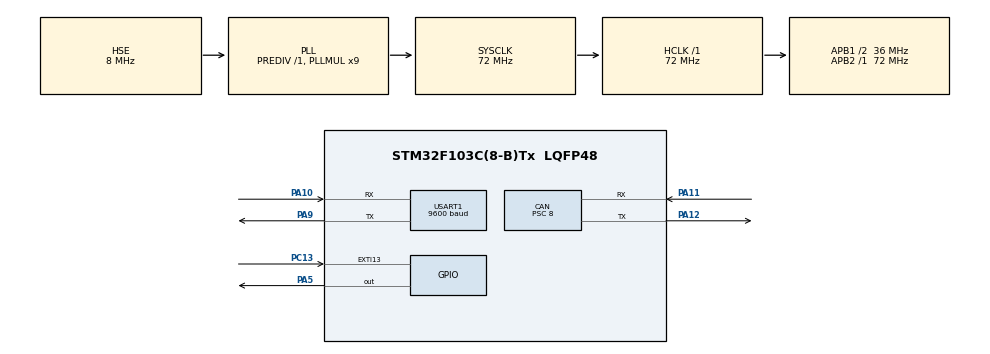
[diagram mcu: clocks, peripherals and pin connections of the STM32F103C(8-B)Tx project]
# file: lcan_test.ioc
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CAN.BS1=CAN_BS1_2TQ
CAN.BS2=CAN_BS2_3TQ
CAN.CalculateBaudRate=750000
CAN.CalculateTimeBit=1333.33
CAN.CalculateTimeQuantum=222.22222222222223
CAN.Prescaler=8
Dma.Request0=USART1_RX
Dma.USART1_RX.0.Direction=DMA_PERIPH_TO_MEMORY
Dma.USART1_RX.0.Instance=DMA1_Channel5
Dma.USART1_RX.0.MemDataAlignment=DMA_MDATAALIGN_BYTE
Dma.USART1_RX.0.MemInc=DMA_MINC_ENABLE
Dma.USART1_RX.0.Mode=DMA_NORMAL
Dma.USART1_RX.0.PeriphDataAlignment=DMA_PDATAALIGN_BYTE
Dma.USART1_RX.0.PeriphInc=DMA_PINC_DISABLE
Dma.USART1_RX.0.Priority=DMA_PRIORITY_LOW
Mcu.Family=STM32F1
Mcu.Name=STM32F103C(8-B)Tx
Mcu.Package=LQFP48
NVIC.DMA1_Channel5_IRQn=true\:0\:0\:false\:false\:true\:false\:true
NVIC.PriorityGroup=NVIC_PRIORITYGROUP_4
NVIC.USART1_IRQn=true\:0\:0\:false\:false\:true\:true\:true
NVIC.USB_HP_CAN1_TX_IRQn=true\:0\:0\:false\:false\:true\:true\:true
NVIC.USB_LP_CAN1_RX0_IRQn=true\:0\:0\:false\:false\:true\:true\:true
PA10.Mode=Asynchronous
PA10.Signal=USART1_RX
PA11.Mode=CAN_Activate
PA11.Signal=CAN_RX
PA12.Mode=CAN_Activate
PA12.Signal=CAN_TX
PA13.Mode=Serial_Wire
PA13.Signal=SYS_JTMS-SWDIO
PA14.Mode=Serial_Wire
PA14.Signal=SYS_JTCK-SWCLK
PA5.Signal=GPIO_Output
PA9.Mode=Asynchronous
PA9.Signal=USART1_TX
PC13-TAMPER-RTC.Signal=GPXTI13
PD0-OSC_IN.Mode=HSE-External-Oscillator
PD0-OSC_IN.Signal=RCC_OSC_IN
PD1-OSC_OUT.Mode=HSE-External-Oscillator
PD1-OSC_OUT.Signal=RCC_OSC_OUT
ProjectManager.HeapSize=0x200
ProjectManager.StackSize=0x400
ProjectManager.TargetToolchain=MDK-ARM V5
RCC.AHBFreq_Value=72000000
RCC.APB1CLKDivider=RCC_HCLK_DIV2
RCC.APB1Freq_Value=36000000
RCC.APB1TimFreq_Value=72000000
RCC.APB2Freq_Value=72000000
RCC.APB2TimFreq_Value=72000000
RCC.HCLKFreq_Value=72000000
RCC.PLLMUL=RCC_PLL_MUL9
RCC.PLLSourceVirtual=RCC_PLLSOURCE_HSE
RCC.SYSCLKFreq_VALUE=72000000
RCC.SYSCLKSource=RCC_SYSCLKSOURCE_PLLCLK
RCC.USBFreq_Value=72000000
USART1.BaudRate=9600
USART1.VirtualMode=VM_ASYNC
board=custom

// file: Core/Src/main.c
/* USER CODE BEGIN Header */
/**
  ******************************************************************************
  * @file           : main.c
  * @brief          : Main program body
  ******************************************************************************
  * @attention
  *
  * <h2><center>&copy; Copyright (c) 2021 STMicroelectronics.
  * All rights reserved.</center></h2>
  *
  * This software component is licensed by ST under BSD 3-Clause license,
  * the "License"; You may not use this file except in compliance with the
  * License. You may obtain a copy of the License at:
  *                        opensource.org/licenses/BSD-3-Clause
  *
  ******************************************************************************
  */
/* USER CODE END Header */
#include "main.h"

CAN_HandleTypeDef hcan;

UART_HandleTypeDef huart1;
DMA_HandleTypeDef hdma_usart1_rx;

void SystemClock_Config(void);
static void MX_GPIO_Init(void);
static void MX_DMA_Init(void);
static void MX_CAN_Init(void);
static void MX_USART1_UART_Init(void);

/* USER CODE BEGIN 0 */
CAN_FilterTypeDef	sFilterConfig;   	//Filter Parameter Config
CAN_TxHeaderTypeDef	TxHeader;	//Transmit Parameter Config
CAN_RxHeaderTypeDef	RxHeader;
#define RXBuf_SIZE   20  //Where the dma will copy the data. Below one is where data will be stored
#define MainBuf_SIZE 20

uint8_t RxBuf[RXBuf_SIZE];
uint8_t MainBuf[MainBuf_SIZE];

int oldPos;
int newPos;

void HAL_UARTEx_RxEventCallback(UART_HandleTypeDef *huart, uint16_t Size)
{
	if (huart->Instance == USART2)
	{
		oldPos = newPos;  // Update the last position before copying new data

		/* If the data in large and it is about to exceed the buffer size, we have to route it to the start of the buffer
		 * This is to maintain the circular buffer
		 * The old data in the main buffer will be overlapped
		 */
		if (oldPos+Size > MainBuf_SIZE)  // If the current position + new data size is greater than the main buffer
		{
			uint16_t datatocopy = MainBuf_SIZE-oldPos;  // find out how much space is left in the main buffer
#include "stm32f10x.h"                  // Device header
			memcpy ((uint8_t *)MainBuf+oldPos, RxBuf, datatocopy);  // copy data in that remaining space

			oldPos = 0;  // point to the start of the buffer
			memcpy ((uint8_t *)MainBuf, (uint8_t *)RxBuf+datatocopy, (Size-datatocopy));  // copy the remaining data
			newPos = (Size-datatocopy);  // update the position
		}

		/* if the current position + new data size is less than the main buffer
		 * we will simply copy the data into the buffer and update the position
		 */
		else
		{
			memcpy ((uint8_t *)MainBuf+oldPos, RxBuf, Size);
			newPos = Size+oldPos;
		}

		/* start the DMA again */
		HAL_UARTEx_ReceiveToIdle_DMA(&huart1, (uint8_t *) RxBuf, RXBuf_SIZE);
		__HAL_DMA_DISABLE_IT(&hdma_usart1_rx, DMA_IT_HT);
		HAL_UART_Transmit (&huart1, RxBuf, sizeof (RxBuf), 20);

	}
}

//CAN
uint8_t TxData[9]; //array to transmit data
uint8_t RxData[8]; //create array to receive data

//UART
uint8_t compRxData[8];
uint8_t newTxData[8];
uint8_t compTxData[2000];
uint8_t Data[] = "The data recieved by stm 32 is: \r\n";

/*
void HAL_UART_RxCpltCallback(UART_HandleTypeDef *huart) {

		HAL_UART_Receive_IT (&huart1, compRxData, 8); //restart the interrupt

		for (int i =0; i<8; i++)
	{
		compRxData[i] = newTxData[i];
	}
		//HAL_UART_Transmit (&huart1, Data, sizeof (Data), 10);
		HAL_UART_Transmit (&huart1, newTxData, sizeof (newTxData), 10);

}

void HAL_UART_TxCpltCallback(UART_HandleTypeDef *huart)
{
	//HAL_UART_Transmit (&huart1, compTxData, sizeof (compTxData), 1000);
}*/

uint32_t TxMailbox;
uint32_t RxMailbox;

/* USER CODE END 0 */

int main(void)
{

  /* MCU Configuration--------------------------------------------------------*/

  /* Reset of all peripherals, Initializes the Flash interface and the Systick. */
  HAL_Init();

  /* Configure the system clock */
  SystemClock_Config();

  /* Initialize all configured peripherals */
  MX_GPIO_Init();
  MX_DMA_Init();
  MX_CAN_Init();
  MX_USART1_UART_Init();
  /* USER CODE BEGIN 2 */

	//UART
	HAL_UARTEx_ReceiveToIdle_DMA(&huart1, RxBuf, RXBuf_SIZE);
	__HAL_DMA_DISABLE_IT(&hdma_usart1_rx, DMA_IT_HT);

	//CAN
	sFilterConfig.FilterBank=0;
	sFilterConfig.FilterIdHigh=0x0003<<5;			//Only receive 0x0234, if not 0x0000
	sFilterConfig.FilterIdLow=0x0000;
	sFilterConfig.FilterMaskIdHigh=0xFFFF;			//When receive one id, if not 0xFFFF
	sFilterConfig.FilterMaskIdLow=0x0000;
	sFilterConfig.FilterFIFOAssignment=CAN_RX_FIFO0;
	sFilterConfig.FilterMode=CAN_FILTERMODE_IDMASK;
	sFilterConfig.FilterActivation=ENABLE;
	sFilterConfig.FilterScale=CAN_FILTERSCALE_32BIT;
	sFilterConfig.SlaveStartFilterBank=14;

if(HAL_CAN_ConfigFilter(&hcan,&sFilterConfig)!= HAL_OK)
	{
		Error_Handler();
	}

	if(HAL_CAN_Start(&hcan) != HAL_OK)
	{/* Start Error */
		Error_Handler();
	}
	if(HAL_CAN_ActivateNotification(&hcan, CAN_IT_TX_MAILBOX_EMPTY) != HAL_OK)
	{
		Error_Handler();
	}
	if(HAL_CAN_ActivateNotification(&hcan, CAN_IT_RX_FIFO0_MSG_PENDING) != HAL_OK)
	{
		Error_Handler();
	}

	TxHeader.StdId=0x0002;		//set id, if to all, then 0x0000
	TxHeader.ExtId=0x00;
	TxHeader.RTR=CAN_RTR_DATA;  //dataframe
	TxHeader.IDE=CAN_ID_STD;  //for standard frame
	TxHeader.DLC=8; //number of bytes I want to send
	TxHeader.TransmitGlobalTime=DISABLE;

	TxData[0] = 0x44; //node
	TxData[1] = 0x76; //0x01 fully functional, no error. 0x02 There is some error
	TxData[2] = 0x56; //sensor data
	TxData[3] = 0x78; //sensor data
	TxData[4] = 0x65; //sensor data
	TxData[5] = 0x6C; //sensor data
	TxData[6] = 0x66; //any error message to tell the tx2. If there is no error, then it will be 0x00
	TxData[7] = 0x41;

for (int i =0; i<10; i++)
	{
		compTxData[i] = '.';
	}

	HAL_UART_Transmit_IT (&huart1, TxData, sizeof (TxData));

	//HAL_UART_Receive_IT (&huart1, compRxData, 20);

  /* USER CODE END 2 */

  /* Infinite loop */
  while (1)
  {

    /* USER CODE BEGIN 3 */
		HAL_CAN_AddTxMessage(&hcan,&TxHeader,TxData,&TxMailbox);

		if (RxBuf[0] == 0) {
		HAL_UART_Transmit_IT (&huart1, TxData, sizeof (TxData));
		HAL_Delay(2000);
		}

		if (RxBuf[0] != 0) {
		int a = RxBuf[0];
		int b = RxBuf[1];
		TxData[0] = a;
		TxData[1] = b;
		HAL_UART_Transmit_IT (&huart1, TxData, sizeof (TxData));
		}
		HAL_Delay(3000);

		//HAL_Delay(1);

		//HAL_UART_Transmit (&huart1, compTxData, sizeof(compTxData), 1000);
  }

  /* USER CODE END 3 */
}

void SystemClock_Config(void)
{
  RCC_OscInitTypeDef RCC_OscInitStruct = {0};
  RCC_ClkInitTypeDef RCC_ClkInitStruct = {0};

  /** Initializes the RCC Oscillators according to the specified parameters
  * in the RCC_OscInitTypeDef structure.
  */
  RCC_OscInitStruct.OscillatorType = RCC_OSCILLATORTYPE_HSE;
  RCC_OscInitStruct.HSEState = RCC_HSE_ON;
  RCC_OscInitStruct.HSEPredivValue = RCC_HSE_PREDIV_DIV1;
  RCC_OscInitStruct.HSIState = RCC_HSI_ON;
  RCC_OscInitStruct.PLL.PLLState = RCC_PLL_ON;
  RCC_OscInitStruct.PLL.PLLSource = RCC_PLLSOURCE_HSE;
  RCC_OscInitStruct.PLL.PLLMUL = RCC_PLL_MUL9;
  if (HAL_RCC_OscConfig(&RCC_OscInitStruct) != HAL_OK)
  {
    Error_Handler();
  }
  /** Initializes the CPU, AHB and APB buses clocks
  */
  RCC_ClkInitStruct.ClockType = RCC_CLOCKTYPE_HCLK|RCC_CLOCKTYPE_SYSCLK
                              |RCC_CLOCKTYPE_PCLK1|RCC_CLOCKTYPE_PCLK2;
  RCC_ClkInitStruct.SYSCLKSource = RCC_SYSCLKSOURCE_PLLCLK;
  RCC_ClkInitStruct.AHBCLKDivider = RCC_SYSCLK_DIV1;
  RCC_ClkInitStruct.APB1CLKDivider = RCC_HCLK_DIV2;
  RCC_ClkInitStruct.APB2CLKDivider = RCC_HCLK_DIV1;

  if (HAL_RCC_ClockConfig(&RCC_ClkInitStruct, FLASH_LATENCY_2) != HAL_OK)
  {
    Error_Handler();
  }
}

static void MX_CAN_Init(void)
{

  hcan.Instance = CAN1;
  hcan.Init.Prescaler = 8;
  hcan.Init.Mode = CAN_MODE_NORMAL;
  hcan.Init.SyncJumpWidth = CAN_SJW_1TQ;
  hcan.Init.TimeSeg1 = CAN_BS1_2TQ;
  hcan.Init.TimeSeg2 = CAN_BS2_3TQ;
  hcan.Init.TimeTriggeredMode = DISABLE;
  hcan.Init.AutoBusOff = DISABLE;
  hcan.Init.AutoWakeUp = DISABLE;
  hcan.Init.AutoRetransmission = DISABLE;
  hcan.Init.ReceiveFifoLocked = DISABLE;
  hcan.Init.TransmitFifoPriority = DISABLE;
  if (HAL_CAN_Init(&hcan) != HAL_OK)
  {
    Error_Handler();
  }

}

static void MX_USART1_UART_Init(void)
{

  huart1.Instance = USART1;
  huart1.Init.BaudRate = 9600;
  huart1.Init.WordLength = UART_WORDLENGTH_8B;
  huart1.Init.StopBits = UART_STOPBITS_1;
  huart1.Init.Parity = UART_PARITY_NONE;
  huart1.Init.Mode = UART_MODE_TX_RX;
  huart1.Init.HwFlowCtl = UART_HWCONTROL_NONE;
  huart1.Init.OverSampling = UART_OVERSAMPLING_16;
  if (HAL_UART_Init(&huart1) != HAL_OK)
  {
    Error_Handler();
  }

}

static void MX_DMA_Init(void)
{

  /* DMA controller clock enable */
  __HAL_RCC_DMA1_CLK_ENABLE();

  /* DMA interrupt init */
  /* DMA1_Channel5_IRQn interrupt configuration */
  HAL_NVIC_SetPriority(DMA1_Channel5_IRQn, 0, 0);
  HAL_NVIC_EnableIRQ(DMA1_Channel5_IRQn);

}

static void MX_GPIO_Init(void)
{
  GPIO_InitTypeDef GPIO_InitStruct = {0};

  /* GPIO Ports Clock Enable */
  __HAL_RCC_GPIOC_CLK_ENABLE();
  __HAL_RCC_GPIOD_CLK_ENABLE();
  __HAL_RCC_GPIOA_CLK_ENABLE();

  /*Configure GPIO pin Output Level */
  HAL_GPIO_WritePin(GPIOA, GPIO_PIN_5, GPIO_PIN_RESET);

  /*Configure GPIO pin : PC13 */
  GPIO_InitStruct.Pin = GPIO_PIN_13;
  GPIO_InitStruct.Mode = GPIO_MODE_IT_RISING;
  GPIO_InitStruct.Pull = GPIO_NOPULL;
  HAL_GPIO_Init(GPIOC, &GPIO_InitStruct);

  /*Configure GPIO pin : PA5 */
  GPIO_InitStruct.Pin = GPIO_PIN_5;
  GPIO_InitStruct.Mode = GPIO_MODE_OUTPUT_PP;
  GPIO_InitStruct.Pull = GPIO_NOPULL;
  GPIO_InitStruct.Speed = GPIO_SPEED_FREQ_LOW;
  HAL_GPIO_Init(GPIOA, &GPIO_InitStruct);

}

/* USER CODE BEGIN 4 */
void HAL_CAN_RxFifo0MsgPendingCallback(CAN_HandleTypeDef*hcan)
{
	//Receive CAN Message by using IT
	HAL_CAN_GetRxMessage(hcan,CAN_RX_FIFO0,&RxHeader,RxData);
	//HAL_CAN_AddTxMessage(hcan,&TxHeader,TxData,&TxMailbox);

	HAL_GPIO_TogglePin(GPIOA,GPIO_PIN_5);
}
void HAL_CAN_TxMailbox0CompleteCallback(CAN_HandleTypeDef*hcan)
{
	//When Transmit success
	//HAL_GPIO_TogglePin(GPIOB,GPIO_PIN_5);
}

/* USER CODE END 4 */

void Error_Handler(void)
{
  /* USER CODE BEGIN Error_Handler_Debug */
  /* User can add his own implementation to report the HAL error return state */
  //__disable_irq();
  while (1)
  {
		HAL_GPIO_TogglePin(GPIOB,GPIO_PIN_5);
		HAL_Delay(100);
  }
  /* USER CODE END Error_Handler_Debug */
}

/************************ (C) COPYRIGHT STMicroelectronics *****END OF FILE****/
